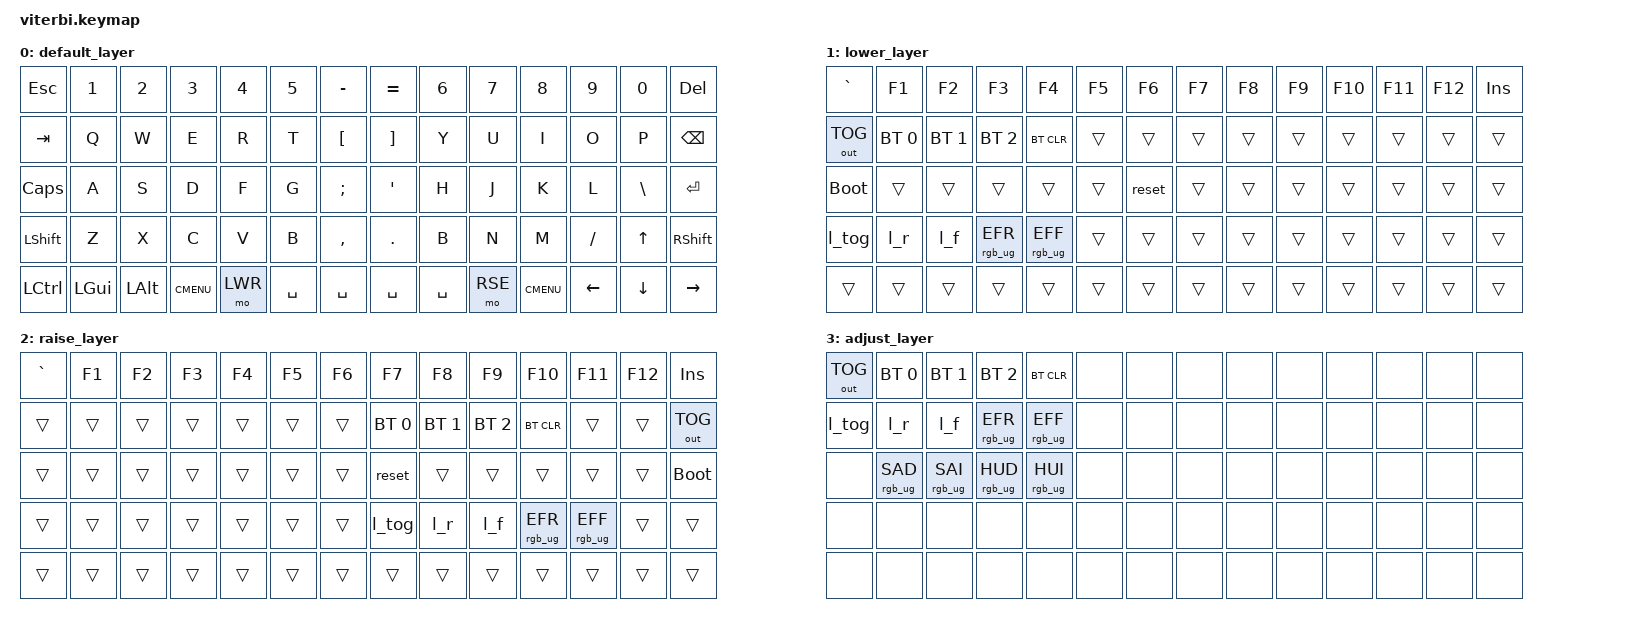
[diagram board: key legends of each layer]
#include <behaviors.dtsi>
#include <dt-bindings/zmk/keys.h>
#include <dt-bindings/zmk/bt.h>
#include <dt-bindings/zmk/outputs.h>
#include <dt-bindings/zmk/rgb.h>
#include <dt-bindings/zmk/backlight.h>

#define DEFAULT 0
#define LWR 1
#define RSE 2
#define ADJ 3

/ {
    macros {
        l_tog: l_tog {
            label = "ZM_light_toggle";
            compatible = "zmk,behavior-macro";
            #binding-cells = <0>;
            bindings
                = <&macro_tap &rgb_ug RGB_TOG &bl BL_TOG>
                ;
        };
	l_f: l_f {
            label = "ZM_light_forward";
            compatible = "zmk,behavior-macro";
            #binding-cells = <0>;
            bindings
                = <&macro_tap &rgb_ug RGB_BRI &bl BL_INC>
                ;
        };
	l_r: l_r {
            label = "ZM_light_reverse";
            compatible = "zmk,behavior-macro";
            #binding-cells = <0>;
            bindings
                = <&macro_tap &rgb_ug RGB_BRD &bl BL_DEC>
                ;
        };
    };
};

/ {
    keymap {
        compatible = "zmk,keymap";
        
        default_layer {
            bindings = <
             &kp ESC &kp N1 &kp N2 &kp N3 &kp N4 &kp N5 &kp MINUS        &kp EQUAL &kp N6 &kp N7 &kp N8 &kp N9 &kp N0 &kp DEL
             &kp TAB &kp Q &kp W &kp E &kp R &kp T &kp LBKT        &kp RBKT &kp Y &kp U &kp I &kp O &kp P &kp BSPC
             &kp CAPS &kp A &kp S &kp D &kp F &kp G &kp SEMI        &kp SQT &kp H &kp J &kp K &kp L &kp BSLH &kp RET
             &kp LSHFT &kp Z &kp X &kp C &kp V &kp B &kp COMMA        &kp DOT &kp B &kp N &kp M &kp FSLH &kp UP &kp RSHFT
             &kp LCTRL &kp LGUI &kp LALT &kp K_CMENU &mo LWR &kp SPACE &kp SPACE        &kp SPACE &kp SPACE &mo RSE &kp K_CMENU &kp LEFT &kp DOWN  &kp RIGHT
            >;
        };

        lower_layer {
            bindings = <
             &kp GRAVE &kp F1 &kp F2 &kp F3 &kp F4 &kp F5 &kp F6        &kp F7 &kp F8 &kp F9 &kp F10 &kp F11 &kp F12 &kp INS
             &out OUT_TOG &bt BT_SEL 0 &bt BT_SEL 1 &bt BT_SEL 2 &bt BT_CLR &trans &trans        &trans &trans &trans &trans &trans &trans &trans
             &bootloader &trans &trans &trans &trans &trans &reset        &trans &trans &trans &trans &trans &trans &trans
             &l_tog &l_r &l_f &rgb_ug RGB_EFR &rgb_ug RGB_EFF &trans &trans        &trans &trans &trans &trans &trans &trans &trans
             &trans &trans &trans &trans &trans &trans &trans        &trans &trans &trans &trans &trans &trans &trans
            >;
        };

        raise_layer {
            bindings = <
             &kp GRAVE &kp F1 &kp F2 &kp F3 &kp F4 &kp F5 &kp F6        &kp F7 &kp F8 &kp F9 &kp F10 &kp F11 &kp F12 &kp INS
             &trans &trans &trans &trans &trans &trans &trans        &bt BT_SEL 0 &bt BT_SEL 1 &bt BT_SEL 2 &bt BT_CLR &trans &trans &out OUT_TOG
             &trans &trans &trans &trans &trans &trans &trans        &reset &trans &trans &trans &trans &trans &bootloader
             &trans &trans &trans &trans &trans &trans &trans        &l_tog &l_r &l_f &rgb_ug RGB_EFR &rgb_ug RGB_EFF &trans &trans
             &trans &trans &trans &trans &trans &trans &trans        &trans &trans &trans &trans &trans &trans &trans
             >;
        };

        adjust_layer {
            bindings = <
            &out OUT_TOG &bt BT_SEL 0 &bt BT_SEL 1 &bt BT_SEL 2 &bt BT_CLR &none &none        &none &none &none &none &none &none &none
            &l_tog &l_r &l_f &rgb_ug RGB_EFR &rgb_ug RGB_EFF &none &none        &none &none &none &none &none &none &none
            &none &rgb_ug RGB_SAD &rgb_ug RGB_SAI &rgb_ug RGB_HUD &rgb_ug RGB_HUI &none &none        &none &none &none &none &none &none &none
            &none &none &none &none &none &none &none        &none &none &none &none &none &none &none
            &none &none &none &none &none &none &none        &none &none &none &none &none &none &none
            >;
        };
    };
};

/ {
   conditional_layers {
       compatible = "zmk,conditional-layers";
       tri_layer {
           if-layers = <LWR RSE>;
           then-layer = <ADJ>;
       };
   };
}; 
